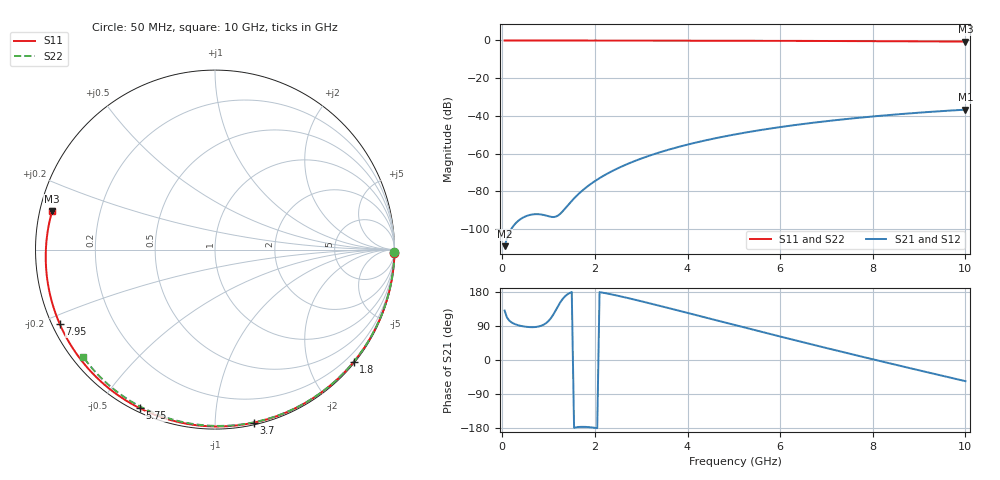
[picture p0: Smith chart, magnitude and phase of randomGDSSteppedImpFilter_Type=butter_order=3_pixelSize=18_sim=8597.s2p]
! freq	dB(S11)	phase(S11)	dB(S12)	phase(S12)
!  dB(S21)	phase(S21)	dB(S22)	phase(S22)
!S-par simulation data
#  GHz  S  DB  R 50
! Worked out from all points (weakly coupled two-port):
!   200 points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, 50 MHz to 10 GHz, reference 50 ohm
!   highest |S21| = -36.69 dB at 10 GHz (marker M1); lowest = -109.0 dB at 50 MHz (marker M2)
!   lowest |S11| = -0.6 dB at 10 GHz (marker M3), VSWR 28.71, Z = 1.77 + j5.78 ohm
!   |S11| at or under -10 dB: nowhere
!   |S22| runs from -0.5 to 0.0 dB; largest |S21 - S12| = 0
!   S11 on the Smith chart (normalised r, x): 50 MHz: open; 1.8 GHz: 0.03, -2.83; 3.7 GHz: 0.02, -1.25; 5.75 GHz: 0.02, -0.63; 7.95 GHz: 0.02, -0.23; 10 GHz: 0.04, +0.12
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0.05  -0.00 -1.1  -109.04 130.4  -109.04 130.4  -0.00 -0.8
0.45  -0.01 -9.9  -93.86 88.8  -93.86 88.8  -0.01 -7.4
0.85  -0.02 -18.6  -92.29 90.8  -92.29 90.8  -0.02 -13.8
1.25  -0.03 -27.3  -91.91 151.7  -91.91 151.7  -0.03 -20.2
1.7  -0.05 -36.8  -80.17 -176.4  -80.17 -176.4  -0.03 -27.4
1.75  -0.05 -37.9  -79.11 -176.3  -79.11 -176.3  -0.04 -28.2
1.8  -0.05 -38.9  -78.11 -176.5  -78.11 -176.5  -0.04 -29.0
2.1  -0.06 -45.2  -72.97 179.1  -72.97 179.1  -0.04 -33.7
2.5  -0.07 -53.5  -67.70 169.4  -67.70 169.4  -0.05 -39.9
2.9  -0.08 -61.6  -63.52 158.1  -63.52 158.1  -0.06 -46.0
3.4  -0.09 -71.5  -59.30 142.9  -59.30 142.9  -0.07 -53.6
3.7  -0.10 -77.3  -57.14 133.7  -57.14 133.7  -0.08 -58.0
4.35  -0.13 -89.7  -53.17 113.4  -53.17 113.4  -0.10 -67.5
5.05  -0.16 -102.7  -49.69 91.5  -49.69 91.5  -0.12 -77.4
5.75  -0.19 -115.3  -46.82 69.7  -46.82 69.7  -0.15 -87.0
6.7  -0.25 -132.1  -43.65 40.6  -43.65 40.6  -0.19 -99.6
7.35  -0.31 -143.6  -41.85 21.1  -41.85 21.1  -0.23 -108.0
7.95  -0.36 -154.3  -40.40 3.3  -40.40 3.3  -0.28 -115.6
8.35  -0.40 -161.5  -39.53 -8.4  -39.53 -8.4  -0.31 -120.6
9.2  -0.50 -177.3  -37.92 -33.0  -37.92 -33.0  -0.39 -131.1
9.6  -0.55 174.9  -37.27 -44.4  -37.27 -44.4  -0.43 -136.0
10  -0.61 166.8  -36.69 -55.8  -36.69 -55.8  -0.48 -141.0
